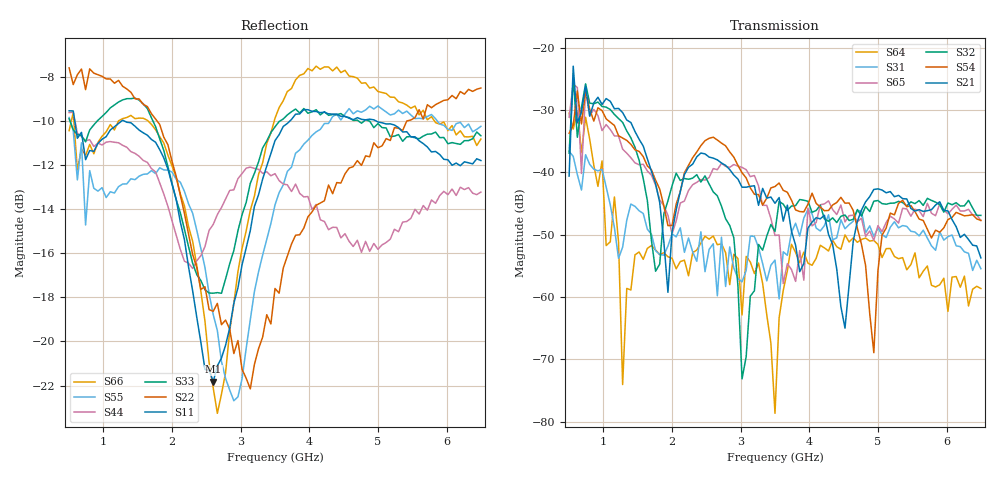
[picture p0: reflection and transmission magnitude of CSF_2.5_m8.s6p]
!Keysight Technologies,M9804A,MY58100912,A.14.10.03
!Date: Thursday, April 27, 2023 10:28:33
!Correction: S11(C  6-Port  )
!S12(C  6-Port  )
!S13(C  6-Port  )
!S14(C  6-Port  )
!S15(C  6-Port  )
!S16(C  6-Port  )
!S21(C  6-Port  )
!S22(C  6-Port  )
!S23(C  6-Port  )
!S24(C  6-Port  )
!S25(C  6-Port  )
!S26(C  6-Port  )
!S31(C  6-Port  )
!S32(C  6-Port  )
!S33(C  6-Port  )
!S34(C  6-Port  )
!S35(C  6-Port  )
!S36(C  6-Port  )
!S41(C  6-Port  )
!S42(C  6-Port  )
!S43(C  6-Port  )
!S44(C  6-Port  )
!S45(C  6-Port  )
!S46(C  6-Port  )
!S51(C  6-Port  )
!S52(C  6-Port  )
!S53(C  6-Port  )
!S54(C  6-Port  )
!S55(C  6-Port  )
!S56(C  6-Port  )
!S61(C  6-Port  )
!S62(C  6-Port  )
!S63(C  6-Port  )
!S64(C  6-Port  )
!S65(C  6-Port  )
!S66(C  6-Port  )
!S6P File: Measurement: :
# Hz S  RI  R 50
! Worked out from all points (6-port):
!   101 points, 500 MHz to 6.5 GHz, reference 50 ohm
!   strongest paths, dB at 500 MHz, 2 GHz, 3.5 GHz, 5 GHz, 6.5 GHz:
!     S21: -40.6, -49.6, -45.0, -42.7, -53.7
!     S54: -33.7, -48.5, -42.3, -55.8, -47.7
!     S32: -36.9, -42.2, -49.5, -44.5, -46.9
!     S65: -31.1, -49.9, -50.1, -48.6, -47.7
!     S31: -36.6, -49.9, -54.1, -48.9, -55.5
!     S64: -30.5, -53.8, -78.7, -51.6, -58.6
!   lowest |S11| = -21.8 dB at 2.6 GHz (marker M1), VSWR 1.18, Z = 42.7 + j1.92 ohm
!   |S11| at or under -10 dB: 581.4 MHz to 1.272 GHz (690.4 MHz wide, 74.5 % of centre); 1.293 GHz to 3.722 GHz (2.428 GHz wide, 96.8 % of centre); 4.964 GHz to end of sweep
